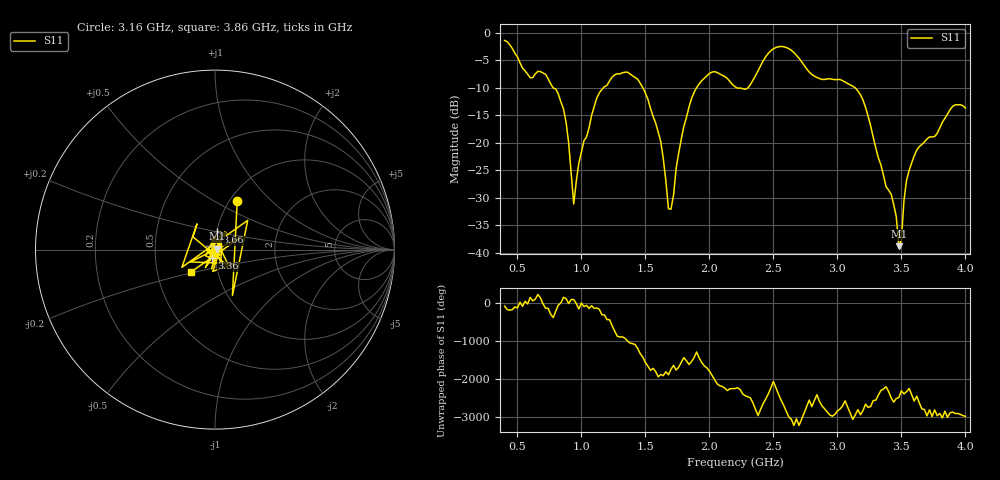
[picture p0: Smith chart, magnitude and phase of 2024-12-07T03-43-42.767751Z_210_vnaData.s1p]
!Created with skrf (http://scikit-rf.org).
# Hz S RI R 50.0
!freq ReS11 ImS11
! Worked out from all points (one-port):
!   181 points, 400 MHz to 4 GHz, reference 50 ohm
!   lowest |S11| = -38.8 dB at 3.48 GHz (marker M1), VSWR 1.02, Z = 51 + j0.534 ohm
!   |S11| at or under -10 dB: 778.5 MHz to 1.172 GHz (393.8 MHz wide, 40.4 % of centre); 1.48 GHz to 1.9 GHz (419.5 MHz wide, 24.8 % of centre); 3.138 GHz to end of sweep (the widest 3 of 4)
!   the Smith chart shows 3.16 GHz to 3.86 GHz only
!   S11 on the Smith chart (normalised r, x): 3.16 GHz: 1.09, +0.64; 3.36 GHz: 0.96, -0.09; 3.66 GHz: 1.00, +0.19; 3.86 GHz: 0.74, -0.19
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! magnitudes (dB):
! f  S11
! 400 MHz  -1.4
! 720 MHz  -7.6
! 860 MHz  -13.8
! 900 MHz  -19.9
! 940 MHz  -31.1
! 980 MHz  -23.7
! 1.12 GHz  -11.9
! 1.3 GHz  -7.5
! 1.52 GHz  -12.1
! 1.62 GHz  -19.8
! 1.68 GHz  -32.0
! 1.7 GHz  -32.1
! 1.76 GHz  -21.9
! 1.86 GHz  -12.0
! 1.94 GHz  -8.7
! 2.2 GHz  -9.8
! 2.3 GHz  -10.1
! 2.5 GHz  -2.9
! 2.66 GHz  -3.6
! 3.1 GHz  -9.5
! 3.16 GHz  -10.6
! 3.36 GHz  -25.9
! 3.44 GHz  -31.2
! 3.48 GHz  -38.8
! 3.56 GHz  -25.0
! 3.66 GHz  -20.3
! 3.86 GHz  -14.8
! 4 GHz  -13.7
